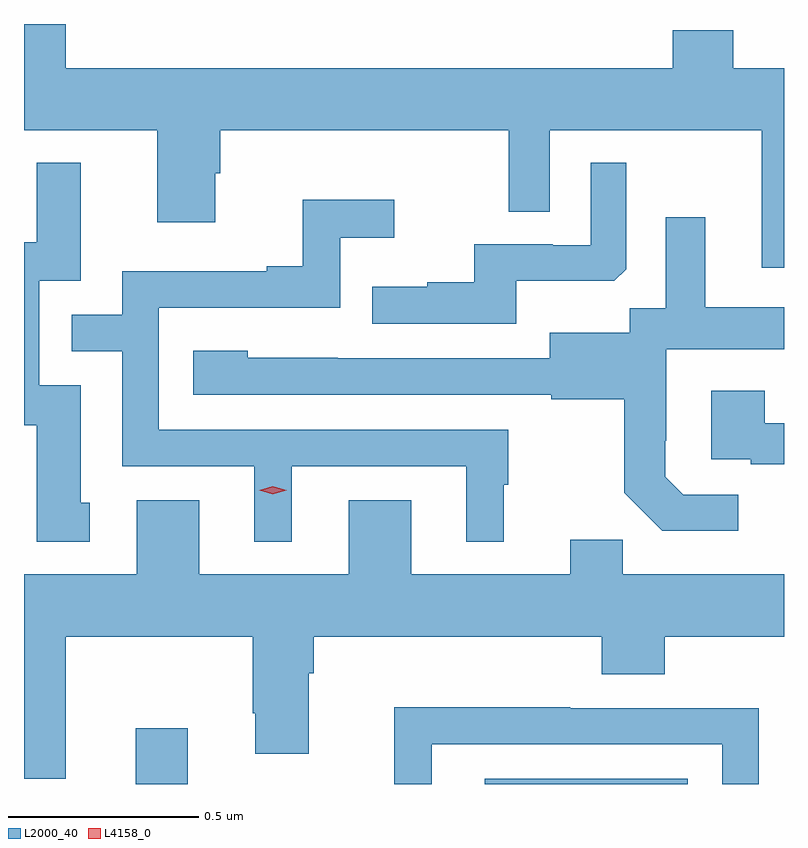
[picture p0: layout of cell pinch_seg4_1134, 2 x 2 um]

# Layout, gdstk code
import gdstk
lib = gdstk.Library(unit=1e-6, precision=1e-09)
def R(c, l, rs):  # rectangles x0, y0, x1, y1
    for r in rs: c.add(gdstk.rectangle(r[:2], r[2:], *l))
def P(c, l, *ps):  # polygons
    for p in ps: c.add(gdstk.Polygon(p, *l))
L2000_40 = (2000, 40)
L4158_0 = (4158, 0)

pinch_seg4_1134 = lib.new_cell('pinch_seg4_1134')
R(pinch_seg4_1134, L2000_40, [(393.128,793.768,393.265,793.915), (394.047,793.768,394.581,793.782)])
P(pinch_seg4_1134, L2000_40, [(394.834,795.652),(394.701,795.652),(394.701,795.751),(394.541,795.751),(394.541,795.652),(392.944,795.652),(392.944,795.768),(392.834,795.768),(392.834,795.488),(393.185,795.488),(393.185,795.246),(393.337,795.246),(393.337,795.375),(393.35,795.375),(393.35,795.488),(394.11,795.488),(394.11,795.274),(394.218,795.274),(394.218,795.488),(394.775,795.488),(394.775,795.126),(394.834,795.126)],
  [(393.007,794.508),(392.983,794.508),(392.983,794.817),(392.874,794.817),(392.874,795.093),(392.983,795.093),(392.983,795.403),(392.867,795.403),(392.867,795.194),(392.834,795.194),(392.834,794.712),(392.867,794.712),(392.867,794.406),(393.007,794.406)],
  [(394.129,795.092),(394.387,795.092),(394.419,795.123),(394.419,795.403),(394.326,795.403),(394.326,795.186),(394.226,795.186),(394.226,795.189),(394.019,795.189),(394.019,795.088),(393.895,795.088),(393.895,795.076),(393.751,795.076),(393.751,794.979),(394.129,794.979)],
  [(393.538,794.604),(393.998,794.604),(393.998,794.405),(394.096,794.405),(394.096,794.556),(394.108,794.556),(394.108,794.7),(393.189,794.7),(393.189,795.021),(393.666,795.021),(393.666,795.206),(393.808,795.206),(393.808,795.305),(393.568,795.305),(393.568,795.13),(393.473,795.13),(393.473,795.117),(393.093,795.117),(393.093,795.003),(392.959,795.003),(392.959,794.907),(393.093,794.907),(393.093,794.604),(393.44,794.604),(393.44,794.405),(393.538,794.405)],
  [(394.714,794.529),(394.569,794.529),(394.522,794.576),(394.522,794.671),(394.524,794.671),(394.524,794.912),(394.834,794.912),(394.834,795.022),(394.627,795.022),(394.627,795.259),(394.523,795.259),(394.523,795.02),(394.428,795.02),(394.428,794.956),(394.217,794.956),(394.217,794.889),(393.659,794.889),(393.659,794.89),(393.423,794.89),(393.423,794.908),(393.279,794.908),(393.279,794.793),(394.221,794.793),(394.221,794.781),(394.413,794.781),(394.413,794.535),(394.513,794.435),(394.714,794.435)],
  [(394.834,794.718),(394.783,794.718),(394.783,794.803),(394.643,794.803),(394.643,794.622),(394.747,794.622),(394.747,794.61),(394.834,794.61)],
  [(392.944,794.156),(393.436,794.156),(393.436,793.954),(393.443,793.954),(393.443,793.847),(393.583,793.847),(393.583,794.06),(393.596,794.06),(393.596,794.156),(394.355,794.156),(394.355,794.057),(394.52,794.057),(394.52,794.156),(394.834,794.156),(394.834,794.32),(394.409,794.32),(394.409,794.411),(394.271,794.411),(394.271,794.32),(393.853,794.32),(393.853,794.515),(393.689,794.515),(393.689,794.32),(393.295,794.32),(393.295,794.515),(393.131,794.515),(393.131,794.32),(392.834,794.32),(392.834,793.782),(392.944,793.782)],
  [(393.907,793.872),(394.671,793.872),(394.671,793.768),(394.767,793.768),(394.767,793.968),(394.271,793.968),(394.271,793.97),(393.808,793.97),(393.808,793.768),(393.907,793.768)])
P(pinch_seg4_1134, L4158_0, [(393.489,794.531),(393.453,794.541),(393.453,794.541),(393.453,794.541),(393.489,794.551),(393.525,794.541),(393.525,794.541),(393.525,794.541)])

lib.write_gds('pinch_seg4_1134.gds')
